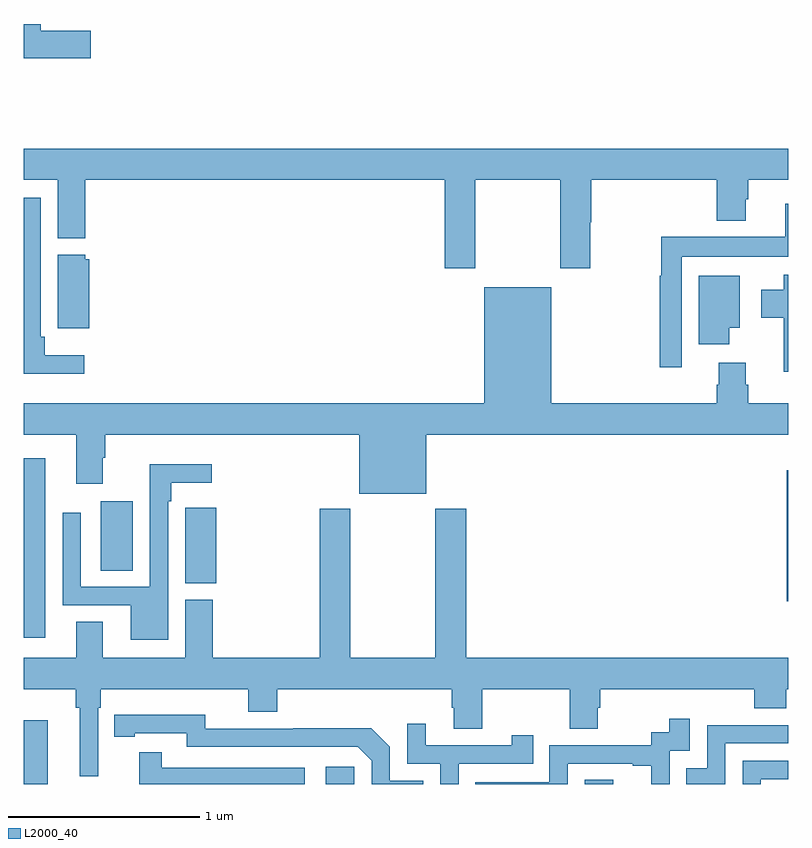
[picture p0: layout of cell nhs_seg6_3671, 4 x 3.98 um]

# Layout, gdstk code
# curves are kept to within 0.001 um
import gdstk
lib = gdstk.Library(unit=1e-6, precision=1e-09)
def R(c, l, rs):  # rectangles x0, y0, x1, y1
    for r in rs: c.add(gdstk.rectangle(r[:2], r[2:], *l))
def P(c, l, *ps):  # polygons
    for p in ps: c.add(gdstk.Polygon(p, *l))
L2000_40 = (2000, 40)

nhs_seg6_3671 = lib.new_cell('nhs_seg6_3671')
R(nhs_seg6_3671, L2000_40, [(325,953.5,325.126,953.833), (326.58,953.5,326.73,953.59), (327.936,953.5,328.084,953.521), (325,954.264,325.114,955.204), (328.993,954.456,329,955.141), (325.403,954.616,325.57,954.979)])
P(nhs_seg6_3671, L2000_40, [(325.351,957.44),(325.09,957.44),(325.09,957.476),(325,957.476),(325,957.298),(325.351,957.298)],
  [(327.363,956.66),(327.808,956.66),(327.808,956.199),(327.963,956.199),(327.963,956.438),(327.968,956.438),(327.968,956.66),(328.625,956.66),(328.625,956.447),(328.777,956.447),(328.777,956.559),(328.79,956.559),(328.79,956.66),(329,956.66),(329,956.824),(325,956.824),(325,956.66),(325.178,956.66),(325.178,956.354),(325.322,956.354),(325.322,956.66),(327.203,956.66),(327.203,956.199),(327.363,956.199)],
  [(325.318,955.744),(325.109,955.744),(325.109,955.84),(325.089,955.84),(325.089,956.566),(325,956.566),(325,955.646),(325.318,955.646)],
  [(328.443,956.258),(329,956.258),(329,956.536),(328.985,956.536),(328.985,956.362),(328.335,956.362),(328.335,956.158),(328.327,956.158),(328.327,955.68),(328.443,955.68)],
  [(325.342,956.244),(325.323,956.244),(325.323,956.269),(325.178,956.269),(325.178,955.883),(325.342,955.883)],
  [(329,956.164),(328.976,956.164),(328.976,956.086),(328.859,956.086),(328.859,955.939),(328.976,955.939),(328.976,955.656),(329,955.656)],
  [(328.69,955.886),(328.747,955.886),(328.747,956.158),(328.532,956.158),(328.532,955.8),(328.69,955.8)],
  [(327.106,955.328),(329,955.328),(329,955.492),(328.79,955.492),(328.79,955.59),(328.777,955.59),(328.777,955.705),(328.637,955.705),(328.637,955.59),(328.625,955.59),(328.625,955.492),(327.76,955.492),(327.76,956.098),(327.41,956.098),(327.41,955.492),(325,955.492),(325,955.328),(325.274,955.328),(325.274,955.071),(325.414,955.071),(325.414,955.208),(325.427,955.208),(325.427,955.328),(326.756,955.328),(326.756,955.019),(327.106,955.019)],
  [(325.755,954.98),(325.771,954.98),(325.771,955.076),(325.984,955.076),(325.984,955.174),(325.659,955.174),(325.659,954.531),(325.299,954.531),(325.299,954.919),(325.203,954.919),(325.203,954.435),(325.559,954.435),(325.559,954.254),(325.755,954.254)],
  [(326.006,954.946),(325.845,954.946),(325.845,954.833),(325.844,954.833),(325.844,954.55),(326.006,954.55)],
  [(325.389,953.9),(325.403,953.9),(325.403,953.996),(326.174,953.996),(326.174,953.879),(326.327,953.879),(326.327,953.996),(327.239,953.996),(327.239,953.898),(327.251,953.898),(327.251,953.788),(327.399,953.788),(327.399,953.996),(327.856,953.996),(327.856,953.788),(328.003,953.788),(328.003,953.898),(328.016,953.898),(328.016,953.996),(328.823,953.996),(328.823,953.897),(328.988,953.897),(328.988,953.996),(329,953.996),(329,954.16),(327.314,954.16),(327.314,954.94),(327.154,954.94),(327.154,954.16),(326.709,954.16),(326.709,954.94),(326.549,954.94),(326.549,954.16),(325.988,954.16),(325.988,954.465),(325.844,954.465),(325.844,954.16),(325.414,954.16),(325.414,954.35),(325.274,954.35),(325.274,954.16),(325,954.16),(325,953.996),(325.273,953.996),(325.273,953.9),(325.292,953.9),(325.292,953.541),(325.389,953.541)],
  [(327.09,953.517),(326.916,953.517),(326.916,953.694),(326.818,953.792),(326.41,953.792),(326.41,953.79),(325.95,953.79),(325.95,953.863),(325.474,953.862),(325.474,953.746),(325.582,953.746),(325.582,953.766),(325.854,953.766),(325.854,953.694),(326.748,953.694),(326.82,953.622),(326.82,953.5),(327.09,953.5)],
  [(327.846,953.607),(328.187,953.607),(328.187,953.595),(328.283,953.595),(328.283,953.5),(328.38,953.5),(328.38,953.673),(328.485,953.673),(328.485,953.842),(328.377,953.842),(328.377,953.772),(328.284,953.772),(328.284,953.703),(327.75,953.703),(327.75,953.508),(327.361,953.508),(327.361,953.5),(327.846,953.5)],
  [(327.276,953.607),(327.665,953.607),(327.665,953.755),(327.554,953.755),(327.554,953.703),(327.103,953.703),(327.103,953.815),(327.006,953.815),(327.006,953.607),(327.18,953.607),(327.18,953.5),(327.276,953.5)],
  [(328.671,953.712),(329,953.712),(329,953.808),(328.575,953.808),(328.575,953.583),(328.465,953.583),(328.465,953.5),(328.671,953.5)],
  [(326.47,953.586),(325.721,953.586),(325.721,953.665),(325.604,953.665),(325.604,953.5),(326.47,953.5)],
  [(328.857,953.526),(329,953.526),(329,953.622),(328.761,953.622),(328.761,953.5),(328.857,953.5)])

lib.write_gds('nhs_seg6_3671.gds')
